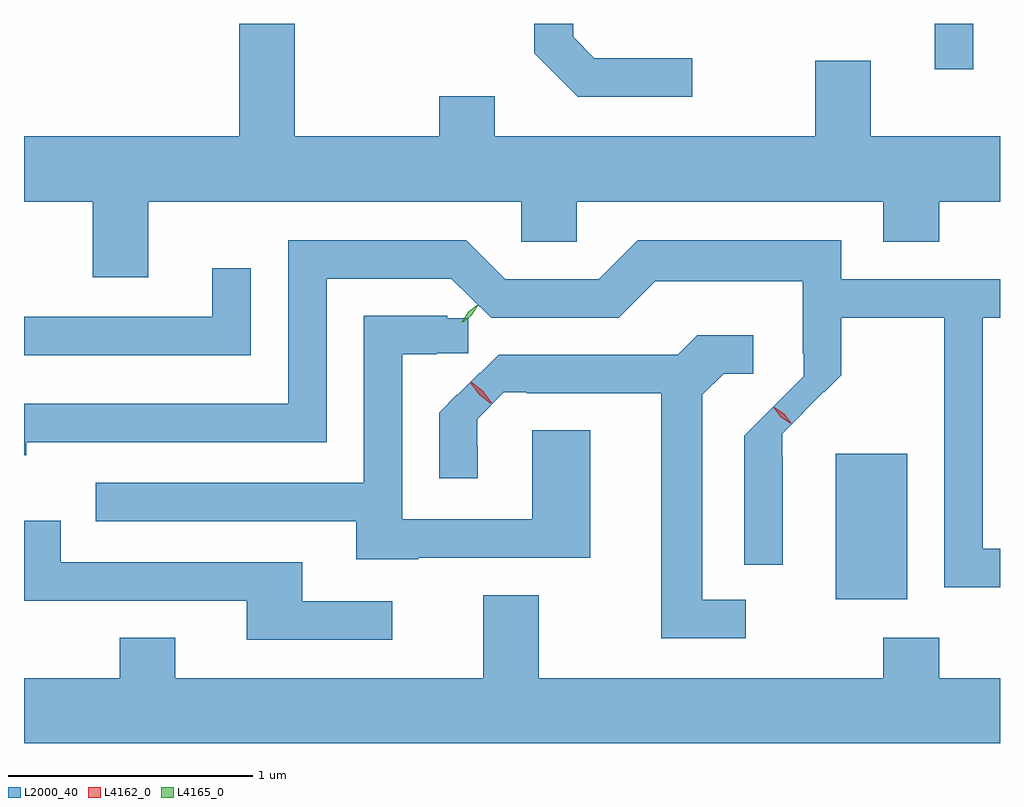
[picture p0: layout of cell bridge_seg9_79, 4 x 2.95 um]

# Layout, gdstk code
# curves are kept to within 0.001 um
import gdstk
lib = gdstk.Library(unit=1e-6, precision=1e-09)
def R(c, l, rs):  # rectangles x0, y0, x1, y1
    for r in rs: c.add(gdstk.rectangle(r[:2], r[2:], *l))
def P(c, l, *ps):  # polygons
    for p in ps: c.add(gdstk.Polygon(p, *l))
L2000_40 = (2000, 40)
L4162_0 = (4162, 0)
L4165_0 = (4165, 0)

bridge_seg9_79 = lib.new_cell('bridge_seg9_79')
R(bridge_seg9_79, L2000_40, [(1908.756,2001.286,1909.049,2001.884), (1909.161,2003.458,1909.319,2003.646)])
P(bridge_seg9_79, L2000_40, [(1905.939,2002.916),(1907.466,2002.916),(1907.466,2002.751),(1907.694,2002.751),(1907.694,2002.916),(1908.951,2002.916),(1908.951,2002.751),(1909.179,2002.751),(1909.179,2002.916),(1909.429,2002.916),(1909.429,2003.184),(1908.899,2003.184),(1908.899,2003.494),(1908.671,2003.494),(1908.671,2003.184),(1907.359,2003.184),(1907.359,2003.349),(1907.131,2003.349),(1907.131,2003.184),(1906.539,2003.184),(1906.539,2003.646),(1906.311,2003.646),(1906.311,2003.184),(1905.429,2003.184),(1905.429,2002.916),(1905.711,2002.916),(1905.711,2002.606),(1905.939,2002.606)],
  [(1908.168,2003.504),(1907.767,2003.504),(1907.679,2003.592),(1907.679,2003.646),(1907.521,2003.646),(1907.521,2003.524),(1907.699,2003.346),(1908.168,2003.346)],
  [(1909.429,2001.494),(1909.359,2001.494),(1909.359,2002.441),(1909.429,2002.441),(1909.429,2002.599),(1908.779,2002.599),(1908.779,2002.759),(1907.944,2002.759),(1907.784,2002.599),(1907.402,2002.599),(1907.242,2002.759),(1906.511,2002.759),(1906.511,2002.089),(1905.429,2002.089),(1905.429,2001.876),(1905.439,2001.876),(1905.439,2001.931),(1906.669,2001.931),(1906.669,2002.601),(1907.179,2002.601),(1907.343,2002.441),(1907.867,2002.441),(1908.017,2002.591),(1908.621,2002.591),(1908.621,2002.295),(1908.625,2002.295),(1908.625,2002.201),(1908.381,2001.957),(1908.381,2001.428),(1908.539,2001.428),(1908.539,2001.87),(1908.536,2001.87),(1908.536,2001.966),(1908.707,2002.137),(1908.709,2002.135),(1908.779,2002.205),(1908.779,2002.441),(1909.201,2002.441),(1909.201,2001.336),(1909.429,2001.336)],
  [(1906.359,2002.643),(1906.201,2002.643),(1906.201,2002.444),(1905.429,2002.444),(1905.429,2002.286),(1906.359,2002.286)],
  [(1907.045,2001.456),(1907.749,2001.456),(1907.749,2001.979),(1907.511,2001.979),(1907.511,2001.614),(1906.979,2001.614),(1906.979,2002.291),(1907.12,2002.291),(1907.12,2002.295),(1907.25,2002.295),(1907.25,2002.439),(1907.164,2002.439),(1907.164,2002.448),(1907.045,2002.448),(1907.045,2002.449),(1906.821,2002.449),(1906.821,2001.764),(1905.723,2001.764),(1905.723,2001.606),(1906.791,2001.606),(1906.791,2001.451),(1907.045,2001.451)],
  [(1908.388,2001.284),(1908.209,2001.284),(1908.209,2002.124),(1908.297,2002.211),(1908.418,2002.211),(1908.418,2002.369),(1908.189,2002.369),(1908.109,2002.289),(1907.374,2002.289),(1907.299,2002.214),(1907.297,2002.216),(1907.131,2002.052),(1907.131,2001.783),(1907.289,2001.783),(1907.289,2001.913),(1907.286,2001.913),(1907.286,2002.025),(1907.395,2002.135),(1907.49,2002.135),(1907.49,2002.131),(1908.041,2002.131),(1908.041,2001.126),(1908.388,2001.126)],
  [(1906.938,2001.279),(1906.569,2001.279),(1906.569,2001.439),(1905.579,2001.439),(1905.579,2001.609),(1905.429,2001.609),(1905.429,2001.281),(1906.341,2001.281),(1906.341,2001.121),(1906.938,2001.121)],
  [(1909.429,2000.964),(1909.179,2000.964),(1909.179,2001.129),(1908.951,2001.129),(1908.951,2000.964),(1907.539,2000.964),(1907.539,2001.304),(1907.311,2001.304),(1907.311,2000.964),(1906.049,2000.964),(1906.049,2001.129),(1905.821,2001.129),(1905.821,2000.964),(1905.429,2000.964),(1905.429,2000.696),(1909.429,2000.696)])
P(bridge_seg9_79, L4162_0, [(1908.575,2002.006),(1908.532,2002.033),(1908.501,2002.074),(1908.501,2002.075),(1908.502,2002.075),(1908.545,2002.048),(1908.576,2002.006),(1908.576,2002.006)],
  [(1907.347,2002.088),(1907.297,2002.126),(1907.26,2002.177),(1907.26,2002.178),(1907.261,2002.178),(1907.311,2002.14),(1907.348,2002.089),(1907.348,2002.088)],
  [(1908.57,2002.008),(1908.53,2002.032),(1908.504,2002.07),(1908.504,2002.07),(1908.504,2002.07),(1908.544,2002.046),(1908.571,2002.008),(1908.571,2002.008)],
  [(1907.342,2002.088),(1907.294,2002.124),(1907.26,2002.172),(1907.26,2002.173),(1907.261,2002.173),(1907.308,2002.137),(1907.342,2002.089),(1907.342,2002.088)])
P(bridge_seg9_79, L4165_0, [(1907.226,2002.425),(1907.226,2002.426),(1907.249,2002.465),(1907.285,2002.491),(1907.286,2002.491),(1907.286,2002.49),(1907.263,2002.451),(1907.227,2002.425)],
  [(1907.226,2002.422),(1907.226,2002.423),(1907.25,2002.463),(1907.288,2002.491),(1907.289,2002.491),(1907.289,2002.49),(1907.265,2002.45),(1907.227,2002.422)])

lib.write_gds('bridge_seg9_79.gds')
